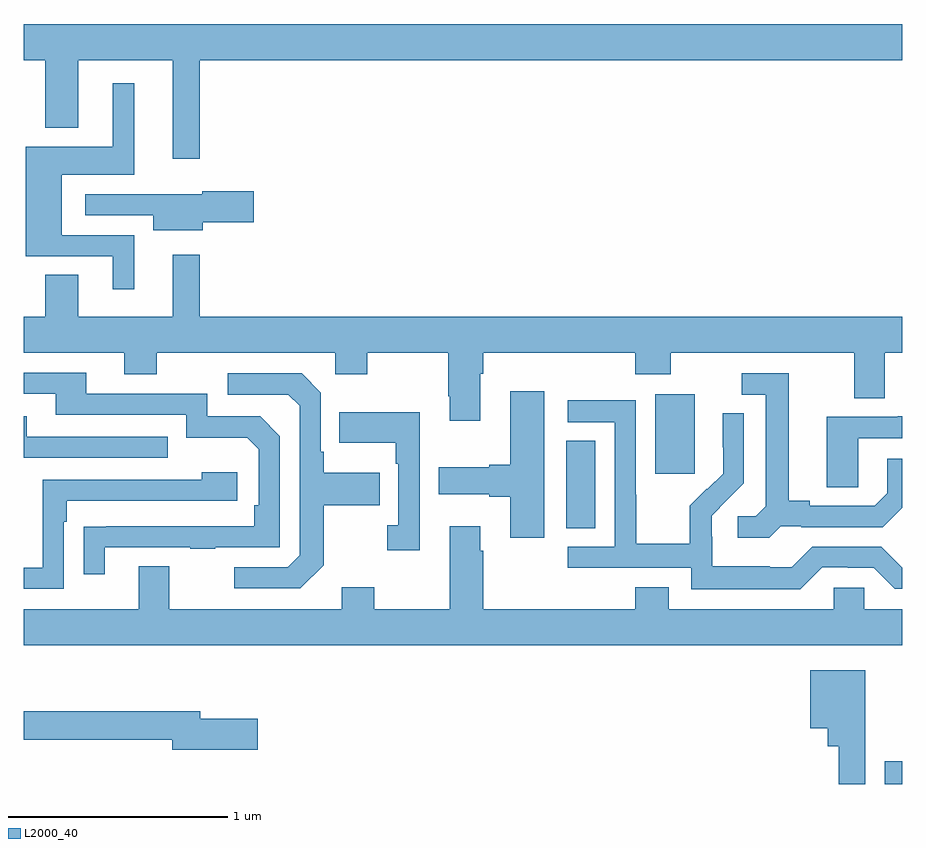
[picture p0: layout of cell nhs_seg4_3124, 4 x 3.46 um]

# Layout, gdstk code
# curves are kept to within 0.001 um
import gdstk
lib = gdstk.Library(unit=1e-6, precision=1e-09)
def R(c, l, rs):  # rectangles x0, y0, x1, y1
    for r in rs: c.add(gdstk.rectangle(r[:2], r[2:], *l))
def P(c, l, *ps):  # polygons
    for p in ps: c.add(gdstk.Polygon(p, *l))
L2000_40 = (2000, 40)

nhs_seg4_3124 = lib.new_cell('nhs_seg4_3124')
R(nhs_seg4_3124, L2000_40, [(280.919,750.9,281,751.003), (279.47,752.065,279.601,752.462), (279.875,752.313,280.054,752.674)])
P(nhs_seg4_3124, L2000_40, [(277.801,754.196),(281,754.196),(281,754.36),(277,754.36),(277,754.196),(277.097,754.196),(277.097,753.887),(277.249,753.887),(277.249,754.196),(277.679,754.196),(277.679,753.747),(277.801,753.747)],
  [(277.504,753.399),(277.174,753.399),(277.174,753.674),(277.504,753.674),(277.504,754.09),(277.406,754.09),(277.406,753.802),(277.01,753.802),(277.01,753.303),(277.406,753.303),(277.406,753.153),(277.504,753.153)],
  [(277.816,753.457),(278.047,753.457),(278.047,753.599),(277.812,753.599),(277.812,753.586),(277.593,753.586),(277.593,753.585),(277.281,753.585),(277.281,753.489),(277.589,753.489),(277.589,753.422),(277.816,753.422)],
  [(279.079,752.768),(279.092,752.768),(279.092,752.864),(279.785,752.864),(279.785,752.765),(279.945,752.765),(279.945,752.864),(280.781,752.864),(280.781,752.656),(280.921,752.656),(280.921,752.864),(281,752.864),(281,753.028),(277.801,753.028),(277.801,753.31),(277.679,753.31),(277.679,753.028),(277.249,753.028),(277.249,753.218),(277.097,753.218),(277.097,753.028),(277,753.028),(277,752.864),(277.457,752.864),(277.457,752.765),(277.605,752.765),(277.605,752.864),(278.418,752.864),(278.418,752.765),(278.565,752.765),(278.565,752.864),(278.932,752.864),(278.932,752.665),(278.939,752.665),(278.939,752.553),(279.079,752.553)],
  [(277.369,751.977),(277.759,751.977),(277.759,751.972),(277.871,751.972),(277.871,751.977),(278.166,751.977),(278.166,752.484),(278.076,752.574),(277.836,752.574),(277.836,752.676),(277.285,752.676),(277.285,752.772),(277,752.772),(277,752.676),(277.145,752.676),(277.145,752.58),(277.74,752.58),(277.74,752.477),(278.017,752.477),(278.07,752.424),(278.07,752.17),(278.05,752.17),(278.05,752.073),(277.273,752.072),(277.273,751.854),(277.369,751.854)],
  [(280.446,752.073),(280.54,752.073),(280.54,752.07),(280.912,752.07),(281,752.158),(281,752.38),(280.931,752.38),(280.931,752.223),(280.874,752.166),(280.579,752.166),(280.579,752.189),(280.483,752.189),(280.483,752.769),(280.269,752.769),(280.269,752.673),(280.379,752.673),(280.379,752.165),(280.332,752.118),(280.251,752.118),(280.251,752.021),(280.394,752.021)],
  [(278.365,751.897),(278.365,752.17),(278.621,752.17),(278.621,752.317),(278.365,752.317),(278.365,752.413),(278.352,752.413),(278.352,752.682),(278.265,752.769),(277.929,752.769),(277.929,752.673),(278.205,752.673),(278.256,752.622),(278.256,751.941),(278.202,751.887),(277.959,751.887),(277.959,751.791),(278.259,751.791)],
  [(279.37,752.689),(279.215,752.689),(279.215,752.354),(279.119,752.354),(279.119,752.341),(278.889,752.341),(278.889,752.219),(279.119,752.219),(279.119,752.207),(279.215,752.207),(279.215,752.022),(279.37,752.022)],
  [(280.635,751.887),(280.751,751.887),(280.751,751.884),(280.869,751.884),(280.965,751.788),(281,751.788),(281,751.885),(280.905,751.98),(280.59,751.98),(280.497,751.887),(280.397,751.887),(280.397,751.891),(280.134,751.891),(280.134,752.025),(280.132,752.025),(280.132,752.122),(280.278,752.27),(280.278,752.588),(280.182,752.588),(280.182,752.434),(280.184,752.434),(280.184,752.312),(280.113,752.241),(280.11,752.244),(280.033,752.167),(280.033,751.993),(279.789,751.993),(279.789,752.216),(279.786,752.216),(279.786,752.646),(279.477,752.646),(279.477,752.547),(279.69,752.547),(279.69,751.98),(279.477,751.98),(279.477,751.884),(280.038,751.884),(280.038,751.787),(280.535,751.787)],
  [(278.802,752.593),(278.437,752.593),(278.437,752.453),(278.694,752.453),(278.694,752.357),(278.706,752.357),(278.706,752.078),(278.655,752.078),(278.655,751.965),(278.802,751.965)],
  [(280.8,752.475),(281,752.475),(281,752.575),(280.979,752.575),(280.979,752.571),(280.655,752.571),(280.655,752.251),(280.8,752.251)],
  [(277.655,752.481),(277.015,752.481),(277.015,752.575),(277,752.575),(277,752.385),(277.655,752.385)],
  [(277.182,752.093),(277.195,752.093),(277.195,752.19),(277.972,752.19),(277.972,752.32),(277.811,752.32),(277.811,752.286),(277.086,752.286),(277.086,751.884),(277,751.884),(277,751.788),(277.182,751.788)],
  [(277.523,751.891),(277.523,751.696),(277,751.696),(277,751.532),(281,751.532),(281,751.696),(280.827,751.696),(280.827,751.794),(280.689,751.794),(280.689,751.696),(279.937,751.696),(279.937,751.795),(279.785,751.795),(279.785,751.696),(279.092,751.696),(279.092,751.961),(279.079,751.961),(279.079,752.074),(278.939,752.074),(278.939,751.696),(278.595,751.696),(278.595,751.795),(278.447,751.795),(278.447,751.696),(277.663,751.696),(277.663,751.891)],
  [(280.831,751.417),(280.58,751.417),(280.58,751.154),(280.661,751.154),(280.661,751.073),(280.71,751.073),(280.71,750.9),(280.831,750.9)],
  [(278.065,751.197),(277.804,751.197),(277.804,751.231),(277,751.231),(277,751.102),(277.676,751.102),(277.676,751.055),(278.065,751.055)])

lib.write_gds('nhs_seg4_3124.gds')
